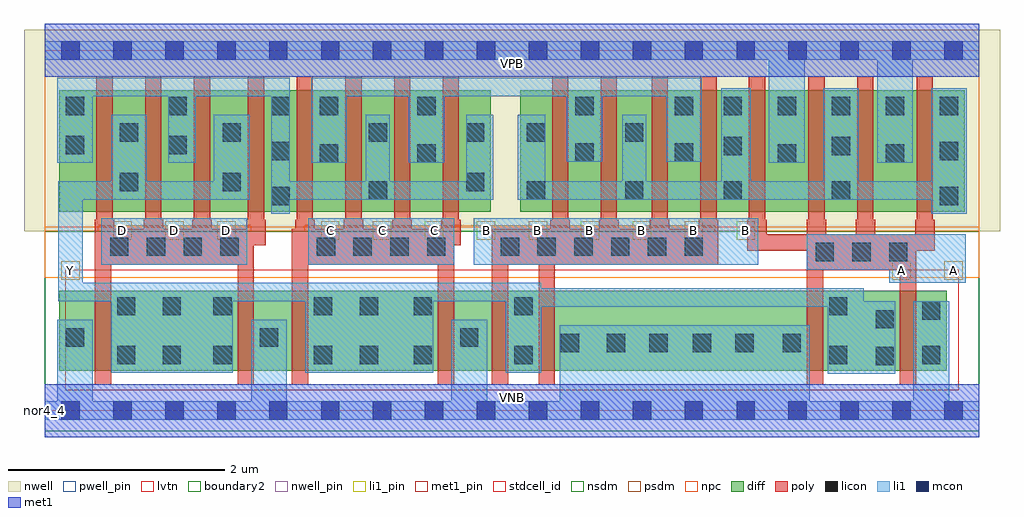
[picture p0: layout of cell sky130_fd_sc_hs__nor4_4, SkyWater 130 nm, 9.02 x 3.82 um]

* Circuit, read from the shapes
.subckt sky130_fd_sc_hs__nor4_4 A B C D VGND VNB VPB VPWR Y
XM1 Y D VGND VNB sky130_fd_pr__nfet_01v8_lvt w=0.74 l=0.15 m=2
XM2 Y C VGND VNB sky130_fd_pr__nfet_01v8_lvt w=0.74 l=0.15 m=2
XM3 Y B VGND VNB sky130_fd_pr__nfet_01v8_lvt w=0.74 l=0.15 m=2
XM4 Y A VGND VNB sky130_fd_pr__nfet_01v8_lvt w=0.74 l=0.15 m=2
XM5 Y D n1 VPB sky130_fd_pr__pfet_01v8 w=1.12 l=0.15 m=4
XM6 n2 C n1 VPB sky130_fd_pr__pfet_01v8 w=1.12 l=0.15 m=4
XM7 n2 B n3 VPB sky130_fd_pr__pfet_01v8 w=1.12 l=0.15 m=4
XM8 VPWR A n3 VPB sky130_fd_pr__pfet_01v8 w=1.12 l=0.15 m=4
.ends

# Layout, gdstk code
import gdstk
lib = gdstk.Library(unit=1e-6, precision=1e-09)
def R(c, l, rs):  # rectangles x0, y0, x1, y1
    for r in rs: c.add(gdstk.rectangle(r[:2], r[2:], *l))
def A(c, l, x, y, w, h, nx, ny, dx, dy):  # array of equal rectangles
    R(c, l, [(x+i*dx, y+j*dy, x+i*dx+w, y+j*dy+h) for i in range(nx) for j in range(ny)])
def P(c, l, *ps):  # polygons
    for p in ps: c.add(gdstk.Polygon(p, *l))
nwell_pin = (64, 16)
nwell = (64, 20)
diff = (65, 20)
poly = (66, 20)
licon = (66, 44)
li1_pin = (67, 16)
li1 = (67, 20)
mcon = (67, 44)
met1_pin = (68, 16)
met1 = (68, 20)
stdcell_id = (81, 4)
nsdm = (93, 44)
psdm = (94, 20)
npc = (95, 20)
pwell_pin = (122, 16)
lvtn = (125, 44)
boundary2 = (236, 0)

sky130_fd_sc_hs__nor4_4 = lib.new_cell('sky130_fd_sc_hs__nor4_4')
R(sky130_fd_sc_hs__nor4_4, nwell_pin, [(0,3.085,8.64,3.33)])
R(sky130_fd_sc_hs__nor4_4, nwell, [(-0.19,1.66,8.83,3.52)])
R(sky130_fd_sc_hs__nor4_4, diff, [(0.135,0.37,8.34,1.11), (0.135,1.84,4.125,2.96), (4.395,1.84,8.505,2.96)])
P(sky130_fd_sc_hs__nor4_4, poly, [(2.045,1.765),(2.03,1.765),(2.03,3.09),(1.88,3.09),(1.88,1.765),(1.865,1.765),(1.865,1.68),(1.545,1.68),(1.545,1.765),(1.53,1.765),(1.53,3.09),(1.38,3.09),(1.38,1.765),(1.365,1.765),(1.365,1.68),(1.095,1.68),(1.095,1.765),(1.08,1.765),(1.08,3.09),(0.93,3.09),(0.93,1.765),(0.915,1.765),(0.915,1.68),(0.645,1.68),(0.645,1.765),(0.63,1.765),(0.63,3.09),(0.48,3.09),(0.48,1.765),(0.465,1.765),(0.465,0.24),(0.615,0.24),(0.615,1.35),(1.785,1.35),(1.785,0.24),(1.935,0.24),(1.935,1.53),(2.045,1.53)],
  [(3.845,1.765),(3.83,1.765),(3.83,3.09),(3.68,3.09),(3.68,1.765),(3.665,1.765),(3.665,1.68),(3.395,1.68),(3.395,1.765),(3.38,1.765),(3.38,3.09),(3.23,3.09),(3.23,1.765),(3.215,1.765),(3.215,1.68),(2.945,1.68),(2.945,1.765),(2.93,1.765),(2.93,3.09),(2.78,3.09),(2.78,1.765),(2.765,1.765),(2.765,1.68),(2.495,1.68),(2.495,1.765),(2.48,1.765),(2.48,3.09),(2.33,3.09),(2.33,1.765),(2.315,1.765),(2.315,1.68),(2.285,1.68),(2.285,0.24),(2.435,0.24),(2.435,1.35),(3.635,1.35),(3.635,0.24),(3.785,0.24),(3.785,1.53),(3.845,1.53)],
  [(6.225,1.765),(6.21,1.765),(6.21,3.09),(6.06,3.09),(6.06,1.765),(6.045,1.765),(6.045,1.68),(5.775,1.68),(5.775,1.765),(5.76,1.765),(5.76,3.09),(5.61,3.09),(5.61,1.765),(5.595,1.765),(5.595,1.68),(5.305,1.68),(5.305,1.765),(5.29,1.765),(5.29,3.09),(5.14,3.09),(5.14,1.765),(5.125,1.765),(5.125,1.68),(4.855,1.68),(4.855,1.765),(4.84,1.765),(4.84,3.09),(4.69,3.09),(4.69,1.765),(4.675,1.765),(4.675,1.68),(4.135,1.68),(4.135,0.24),(4.285,0.24),(4.285,1.35),(4.565,1.35),(4.565,0.24),(4.715,0.24),(4.715,1.35),(6.225,1.35)],
  [(8.225,1.765),(8.21,1.765),(8.21,3.09),(8.06,3.09),(8.06,1.765),(8.045,1.765),(8.045,1.63),(7.675,1.63),(7.675,1.765),(7.66,1.765),(7.66,3.09),(7.51,3.09),(7.51,1.765),(7.495,1.765),(7.495,1.63),(7.225,1.63),(7.225,1.765),(7.21,1.765),(7.21,3.09),(7.06,3.09),(7.06,1.765),(7.045,1.765),(7.045,1.63),(6.675,1.63),(6.675,1.765),(6.66,1.765),(6.66,3.09),(6.51,3.09),(6.51,1.765),(6.495,1.765),(6.495,1.48),(7.045,1.48),(7.045,0.24),(7.195,0.24),(7.195,1.3),(7.905,1.3),(7.905,0.24),(8.055,0.24),(8.055,1.48),(8.225,1.48)])
A(sky130_fd_sc_hs__nor4_4, licon, 7.125, 1.38, 0.17, 0.17, 3, 1, 0.34, 0)
A(sky130_fd_sc_hs__nor4_4, licon, 0.605, 1.43, 0.17, 0.17, 4, 1, 0.34, 0)
A(sky130_fd_sc_hs__nor4_4, licon, 2.515, 1.43, 0.17, 0.17, 4, 1, 0.34, 0)
A(sky130_fd_sc_hs__nor4_4, licon, 4.215, 1.43, 0.17, 0.17, 6, 1, 0.34, 0)
A(sky130_fd_sc_hs__nor4_4, licon, 4.455, 1.95, 0.17, 0.17, 3, 1, 0.91, 0)
A(sky130_fd_sc_hs__nor4_4, licon, 0.195, 2.73, 0.17, 0.17, 3, 1, 0.95, 0)
A(sky130_fd_sc_hs__nor4_4, licon, 6.275, 2.73, 0.17, 0.17, 5, 1, 0.5, 0)
R(sky130_fd_sc_hs__nor4_4, licon, [(7.68,0.42,7.85,0.59), (0.67,0.43,0.84,0.6), (1.09,0.43,1.26,0.6), (1.56,0.43,1.73,0.6), (2.49,0.43,2.66,0.6), (2.915,0.43,3.085,0.6), (3.41,0.43,3.58,0.6), (4.34,0.43,4.51,0.6), (7.25,0.43,7.42,0.6), (8.11,0.43,8.28,0.6), (4.77,0.54,4.94,0.71), (5.195,0.54,5.365,0.71), (5.59,0.54,5.76,0.71), (5.99,0.54,6.16,0.71), (6.385,0.54,6.555,0.71), (6.82,0.54,6.99,0.71), (0.195,0.59,0.365,0.76), (1.99,0.59,2.16,0.76), (3.84,0.59,4.01,0.76), (7.68,0.76,7.85,0.93), (8.11,0.84,8.28,1.01), (0.67,0.88,0.84,1.05), (1.09,0.88,1.26,1.05), (1.56,0.88,1.73,1.05), (2.49,0.88,2.66,1.05), (2.915,0.88,3.085,1.05), (3.41,0.88,3.58,1.05), (4.34,0.88,4.51,1.05), (7.25,0.88,7.42,1.05), (2.095,1.9,2.265,2.07), (8.275,1.9,8.445,2.07), (2.995,1.95,3.165,2.12), (7.275,1.95,7.445,2.12), (0.695,2.03,0.865,2.2), (1.645,2.03,1.815,2.2), (3.895,2.03,4.065,2.2), (2.545,2.29,2.715,2.46), (3.445,2.29,3.615,2.46), (6.775,2.29,6.945,2.46), (7.775,2.29,7.945,2.46), (4.905,2.3,5.075,2.47), (5.825,2.3,5.995,2.47), (2.095,2.315,2.265,2.485), (8.275,2.315,8.445,2.485), (6.275,2.36,6.445,2.53), (7.275,2.36,7.445,2.53), (0.195,2.37,0.365,2.54), (1.145,2.37,1.315,2.54), (0.695,2.485,0.865,2.655), (1.645,2.485,1.815,2.655), (2.995,2.485,3.165,2.655), (3.895,2.485,4.065,2.655), (4.455,2.485,4.625,2.655), (5.365,2.485,5.535,2.655), (2.545,2.73,2.715,2.9), (3.445,2.73,3.615,2.9), (4.905,2.73,5.075,2.9), (5.825,2.73,5.995,2.9)])
A(sky130_fd_sc_hs__nor4_4, li1_pin, 0.635, 1.58, 0.17, 0.17, 3, 1, 0.48, 0)
A(sky130_fd_sc_hs__nor4_4, li1_pin, 2.555, 1.58, 0.17, 0.17, 9, 1, 0.48, 0)
R(sky130_fd_sc_hs__nor4_4, li1_pin, [(0.155,1.21,0.325,1.38), (7.835,1.21,8.005,1.38), (8.315,1.21,8.485,1.38)])
R(sky130_fd_sc_hs__nor4_4, li1, [(0.525,1.35,1.875,1.78), (2.435,1.35,3.785,1.78), (3.965,1.35,6.595,1.78)])
P(sky130_fd_sc_hs__nor4_4, li1, [(8.64,0.085),(8.36,0.085),(8.36,1.01),(8.03,1.01),(8.03,0.085),(7.07,0.085),(7.07,0.79),(4.76,0.79),(4.76,0.085),(4.09,0.085),(4.09,0.84),(3.76,0.84),(3.76,0.085),(2.24,0.085),(2.24,0.84),(1.91,0.84),(1.91,0.085),(0.445,0.085),(0.445,0.84),(0.115,0.84),(0.115,0.085),(0,0.085),(0,-0.085),(8.64,-0.085)],
  [(4.145,2.735),(3.895,2.735),(3.895,2.12),(3.19,2.12),(3.19,2.735),(2.97,2.735),(2.97,2.12),(2.265,2.12),(2.265,3.075),(0.115,3.075),(0.115,2.29),(0.445,2.29),(0.445,2.905),(1.145,2.905),(1.145,2.29),(1.395,2.29),(1.395,2.905),(2.095,2.905),(2.095,1.82),(2.265,1.82),(2.265,1.95),(4.145,1.95)],
  [(6.075,3.075),(2.465,3.075),(2.465,2.29),(2.795,2.29),(2.795,2.905),(3.365,2.905),(3.365,2.29),(3.695,2.29),(3.695,2.905),(4.825,2.905),(4.825,2.3),(5.155,2.3),(5.155,2.905),(5.745,2.905),(5.745,2.3),(6.075,2.3)],
  [(8.525,2.98),(8.195,2.98),(8.195,2.12),(7.525,2.12),(7.525,2.98),(7.195,2.98),(7.195,2.12),(6.525,2.12),(6.525,2.98),(6.255,2.98),(6.255,2.12),(5.56,2.12),(5.56,2.735),(5.34,2.735),(5.34,2.12),(4.625,2.12),(4.625,2.735),(4.375,2.735),(4.375,1.95),(8.195,1.95),(8.195,1.82),(8.525,1.82)],
  [(8.515,1.63),(7.045,1.63),(7.045,1.3),(7.805,1.3),(7.805,1.18),(8.515,1.18)],
  [(7.86,1.01),(7.57,1.01),(7.57,1.13),(4.59,1.13),(4.59,1.18),(0.355,1.18),(0.355,1.95),(1.895,1.95),(1.895,2.735),(1.565,2.735),(1.565,2.12),(0.945,2.12),(0.945,2.735),(0.615,2.735),(0.615,2.12),(0.125,2.12),(0.125,1.01),(0.615,1.01),(0.615,0.35),(1.74,0.35),(1.74,1.01),(2.41,1.01),(2.41,0.35),(3.59,0.35),(3.59,1.01),(4.26,1.01),(4.26,0.35),(4.59,0.35),(4.59,0.96),(7.24,0.96),(7.24,0.34),(7.86,0.34)],
  [(8.64,3.415),(0,3.415),(0,3.245),(6.695,3.245),(6.695,2.29),(7.025,2.29),(7.025,3.245),(7.695,3.245),(7.695,2.29),(8.025,2.29),(8.025,3.245),(8.64,3.245)])
A(sky130_fd_sc_hs__nor4_4, mcon, 0.155, -0.085, 0.17, 0.17, 18, 2, 0.48, 3.33)
R(sky130_fd_sc_hs__nor4_4, met1_pin, [(0,0,8.64,0.245), (0,3.085,8.64,3.33)])
R(sky130_fd_sc_hs__nor4_4, met1, [(0,-0.245,8.64,0.245), (0,3.085,8.64,3.575)])
R(sky130_fd_sc_hs__nor4_4, stdcell_id, [(0,0,8.64,3.33)])
R(sky130_fd_sc_hs__nor4_4, nsdm, [(0,-0.19,8.64,1.66)])
P(sky130_fd_sc_hs__nor4_4, psdm, [(8.64,3.52),(0,3.52),(0,1.66),(0.495,1.66),(0.495,1.71),(1.905,1.71),(1.905,1.66),(2.405,1.66),(2.405,1.71),(6.195,1.71),(6.195,1.66),(8.64,1.66)])
R(sky130_fd_sc_hs__nor4_4, npc, [(0,1.23,8.64,1.7)])
R(sky130_fd_sc_hs__nor4_4, pwell_pin, [(0,0,8.64,0.245)])
R(sky130_fd_sc_hs__nor4_4, lvtn, [(0.19,0.19,8.45,1.3)])
R(sky130_fd_sc_hs__nor4_4, boundary2, [(0,0,8.64,3.33)])
sky130_fd_sc_hs__nor4_4.add(gdstk.Label('nor4_4', (0,0), layer=83, texttype=44))
sky130_fd_sc_hs__nor4_4.add(gdstk.Label('VNB', (4.32,0.123), layer=64, texttype=59))
sky130_fd_sc_hs__nor4_4.add(gdstk.Label('VPB', (4.32,3.208), layer=64, texttype=5))
sky130_fd_sc_hs__nor4_4.add(gdstk.Label('VPWR', (4.32,3.208), layer=68, texttype=5))
sky130_fd_sc_hs__nor4_4.add(gdstk.Label('VGND', (4.32,0.123), layer=68, texttype=5))
sky130_fd_sc_hs__nor4_4.add(gdstk.Label('Y', (0.24,1.295), layer=67, texttype=5))
sky130_fd_sc_hs__nor4_4.add(gdstk.Label('A', (7.92,1.295), layer=67, texttype=5))
sky130_fd_sc_hs__nor4_4.add(gdstk.Label('A', (8.4,1.295), layer=67, texttype=5))
sky130_fd_sc_hs__nor4_4.add(gdstk.Label('B', (4.08,1.665), layer=67, texttype=5))
sky130_fd_sc_hs__nor4_4.add(gdstk.Label('B', (4.56,1.665), layer=67, texttype=5))
sky130_fd_sc_hs__nor4_4.add(gdstk.Label('B', (5.04,1.665), layer=67, texttype=5))
sky130_fd_sc_hs__nor4_4.add(gdstk.Label('B', (5.52,1.665), layer=67, texttype=5))
sky130_fd_sc_hs__nor4_4.add(gdstk.Label('B', (6,1.665), layer=67, texttype=5))
sky130_fd_sc_hs__nor4_4.add(gdstk.Label('B', (6.48,1.665), layer=67, texttype=5))
sky130_fd_sc_hs__nor4_4.add(gdstk.Label('C', (2.64,1.665), layer=67, texttype=5))
sky130_fd_sc_hs__nor4_4.add(gdstk.Label('C', (3.12,1.665), layer=67, texttype=5))
sky130_fd_sc_hs__nor4_4.add(gdstk.Label('C', (3.6,1.665), layer=67, texttype=5))
sky130_fd_sc_hs__nor4_4.add(gdstk.Label('D', (0.72,1.665), layer=67, texttype=5))
sky130_fd_sc_hs__nor4_4.add(gdstk.Label('D', (1.2,1.665), layer=67, texttype=5))
sky130_fd_sc_hs__nor4_4.add(gdstk.Label('D', (1.68,1.665), layer=67, texttype=5))

lib.write_gds('sky130_fd_sc_hs__nor4_4.gds')
